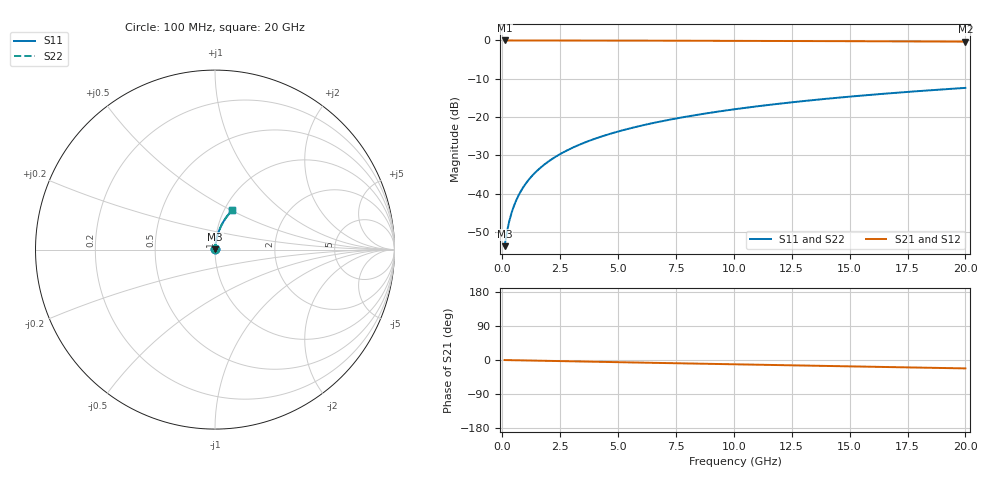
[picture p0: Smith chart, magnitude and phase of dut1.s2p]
! Touchstone file exported from HFSS 2026.1.0
!  File:  C:/ffzhzh/LocalFiles/Ansys_Project_Files/temp_test_BSMRDL_1_1782907178_42304.aedt
!  Generated:  08:00:51 PM Jul  1, 2026
!  Design:  BSMRDL
!  Project:  temp_test_BSMRDL_1_1782907178_42304
! Variables:
!  h_bsmrdl = 5.19um
!  h_ox = 20um
!  h_rdl = 5um
!  h_sub = 80um
!  h_tmrdl = 5um
!  h_tsv = 80um
!  h_via = 3um
!  l_bsmrdl = 286.21um
!  l_sub = 686.21um
!  l_tmrdl = 200um
!  m_sub = 200um
!  pitch = 40.75um
!  r_tsv = 6um
!  s_tmrdl = 10um
!  w_bsmrdl = 13.49um
!  w_sub = 500um
!  w_tmrdl = 12um
!  x_tsv_center1 = 206um
!  x_tsv_center2 = 505.7um
!  x_tsv_center3 = 717.7um
!  x_tsv_center4 = 1017.4um
!  x_tsv_center5 = 1229.4um
!  x_tsv_center6 = 1529.1um
# GHz S MA R 50.000000
! Terminal data exported
! Port[1] = BSM_RDL1_1_T1
! Port[2] = BSM_RDL1_1_T2
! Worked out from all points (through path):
!   200 points, 100 MHz to 20 GHz, reference 50 ohm
!   highest |S21| = -0.01 dB at 100 MHz (marker M1); lowest = -0.3 dB at 20 GHz (marker M2)
!   group delay of S21, straight-line fit = 3.07 ps
!   lowest |S11| = -53.6 dB at 100 MHz (marker M3), VSWR 1.00, Z = 50.2 + j0.139 ohm
!   |S11| at or under -10 dB: start of sweep to end of sweep
!   |S22| runs from -53.6 to -12.4 dB; largest |S21 - S12| = 2.2e-15
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0.1  0.00208 41.8  0.9985 -0.1  0.9985 -0.1  0.00208 41.8
! Gamma 0 0 0 0
! Port Impedance 50 0 50 0
0.2  0.003176 59.6  0.9984 -0.2  0.9984 -0.2  0.003176 59.6
0.3  0.004395 67.8  0.9984 -0.4  0.9984 -0.4  0.004395 67.8
0.4  0.005653 72.3  0.9983 -0.5  0.9983 -0.5  0.005652 72.3
0.5  0.006928 75.2  0.9983 -0.6  0.9983 -0.6  0.006928 75.2
0.6  0.008216 77.2  0.9982 -0.7  0.9982 -0.7  0.008216 77.2
0.8  0.01081 79.7  0.9981 -0.9  0.9981 -0.9  0.01081 79.7
1.1  0.01473 81.6  0.998 -1.3  0.998 -1.3  0.01473 81.6
1.5  0.01997 82.7  0.9978 -1.8  0.9978 -1.8  0.01997 82.7
1.8  0.0239 83.0  0.9977 -2.1  0.9977 -2.1  0.0239 83.0
2.1  0.02781 83.2  0.9975 -2.4  0.9975 -2.4  0.02781 83.2
2.7  0.03561 83.1  0.997 -3.1  0.997 -3.1  0.03561 83.1
3.5  0.0459 82.6  0.9962 -4.1  0.9962 -4.1  0.0459 82.6
4.2  0.05483 82.0  0.9955 -4.9  0.9955 -4.9  0.05482 82.0
5  0.06493 81.3  0.9945 -5.8  0.9945 -5.8  0.06493 81.3
5.9  0.07619 80.4  0.9934 -6.8  0.9934 -6.8  0.07619 80.4
6.8  0.08735 79.5  0.9921 -7.8  0.9921 -7.8  0.08735 79.5
8.3  0.1057 78.1  0.9898 -9.5  0.9898 -9.5  0.1057 78.1
10.1  0.1275 76.2  0.9868 -11.5  0.9868 -11.5  0.1275 76.2
13.4  0.1665 72.9  0.9802 -15.1  0.9802 -15.1  0.1665 72.9
16.7  0.2042 69.5  0.9725 -18.7  0.9725 -18.7  0.2042 69.5
20  0.2404 66.2  0.9637 -22.2  0.9637 -22.2  0.2404 66.2
